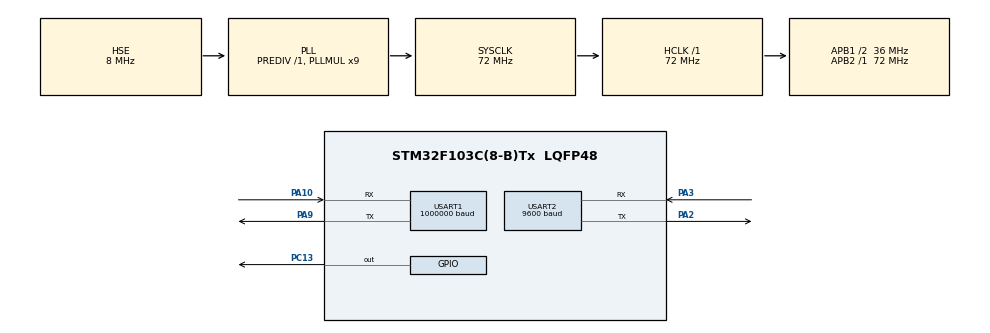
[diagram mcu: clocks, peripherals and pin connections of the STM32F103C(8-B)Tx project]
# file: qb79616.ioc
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Mcu.Family=STM32F1
Mcu.Name=STM32F103C(8-B)Tx
Mcu.Package=LQFP48
NVIC.PriorityGroup=NVIC_PRIORITYGROUP_4
NVIC.TIM2_IRQn=true\:0\:0\:false\:false\:true\:true\:true\:true
NVIC.USART1_IRQn=true\:0\:0\:false\:false\:true\:true\:true\:true
PA10.Mode=Asynchronous
PA10.Signal=USART1_RX
PA13.Mode=Serial_Wire
PA13.Signal=SYS_JTMS-SWDIO
PA14.Mode=Serial_Wire
PA14.Signal=SYS_JTCK-SWCLK
PA2.Mode=Asynchronous
PA2.Signal=USART2_TX
PA3.Mode=Asynchronous
PA3.Signal=USART2_RX
PA9.Mode=Asynchronous
PA9.Signal=USART1_TX
PC13-TAMPER-RTC.Signal=GPIO_Output
PD0-OSC_IN.Mode=HSE-External-Oscillator
PD0-OSC_IN.Signal=RCC_OSC_IN
PD1-OSC_OUT.Mode=HSE-External-Oscillator
PD1-OSC_OUT.Signal=RCC_OSC_OUT
ProjectManager.HeapSize=0x200
ProjectManager.StackSize=0x400
ProjectManager.TargetToolchain=STM32CubeIDE
RCC.AHBFreq_Value=72000000
RCC.APB1CLKDivider=RCC_HCLK_DIV2
RCC.APB1Freq_Value=36000000
RCC.APB1TimFreq_Value=72000000
RCC.APB2Freq_Value=72000000
RCC.APB2TimFreq_Value=72000000
RCC.HCLKFreq_Value=72000000
RCC.PLLMUL=RCC_PLL_MUL9
RCC.PLLSourceVirtual=RCC_PLLSOURCE_HSE
RCC.SYSCLKFreq_VALUE=72000000
RCC.SYSCLKSource=RCC_SYSCLKSOURCE_PLLCLK
RCC.USBFreq_Value=72000000
TIM2.Period=999
TIM2.Prescaler=71
USART1.BaudRate=1000000
USART1.VirtualMode=VM_ASYNC
USART2.BaudRate=9600
USART2.VirtualMode=VM_ASYNC
VP_TIM2_VS_ClockSourceINT.Mode=Internal
board=custom

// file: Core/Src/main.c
/* USER CODE BEGIN Header */
/**
 ******************************************************************************
 * @file           : main.c
 * @brief          : Main program body
 ******************************************************************************
 * @attention
 *
 * Copyright (c) 2025 STMicroelectronics.
 * All rights reserved.
 *
 * This software is licensed under terms that can be found in the LICENSE file
 * in the root directory of this software component.
 * If no LICENSE file comes with this software, it is provided AS-IS.
 *
 ******************************************************************************
 */
/* USER CODE END Header */
#include "main.h"

/* USER CODE BEGIN Includes */
#include "bq79616.h"
#include "bq79600.h"
/* USER CODE END Includes */

TIM_HandleTypeDef htim2;

UART_HandleTypeDef huart1;
UART_HandleTypeDef huart2;

/* USER CODE BEGIN PV */
uint8_t received_data1 = 0;
uint8_t received_data2 = 0;
/* USER CODE END PV */

void SystemClock_Config(void);
static void MX_GPIO_Init(void);
static void MX_USART1_UART_Init(void);
static void MX_USART2_UART_Init(void);
static void MX_TIM2_Init(void);
/* USER CODE BEGIN PFP */
/* Receive buffer (1 byte) */
//uint8_t rx_byte[5];

/* This callback is called by HAL when a receive complete interrupt occurs */
//void HAL_UART_RxCpltCallback(UART_HandleTypeDef *huart)
//{
//  if (huart->Instance == USART1)
//  {
//    /* copy received byte to tx buffer */
//
//
//    /* start transmit interrupt to echo the byte back */
//    if (HAL_UART_Transmit_IT(&huart1, rx_byte, 5) != HAL_OK)
//    {
//      /* Transmission error handling */
//      Error_Handler();
//    }
//
//    /* Re-arm receive interrupt to receive next byte.
//       Important: re-enable after starting TX or you can re-enable in TxCpltCallback.
//    */
//    if (HAL_UART_Receive_IT(&huart1, rx_byte, 5) != HAL_OK)
//    {
//      Error_Handler();
//    }
//  }
//}
/* USER CODE END PFP */

/* USER CODE BEGIN 0 */
void test1(){ //success!!!
	Wake79616();

	HAL_Delay(2);

	AutoAddress();

}
/** Test Case 2: Voltage Reading **/
int totalV = 0;
float final_value;
int cellVoltages_board0[16] = {0};
int cellVoltages_board1[16] = {0};
float test2(){ //success!!!
	int totalV1 = 0;
	int totalV2 = 0;

	uint8_t activeCells = 16;
	// writeReg(0, BQ79616_ADC_CTRL1, 0x06, 1, FRMWRT_ALL_W);
	readBoardVoltages(1, activeCells, &totalV1, cellVoltages_board0);

	HAL_Delay(100);
	readBoardVoltages(2, activeCells, &totalV2, cellVoltages_board1);
	totalV=totalV1 + totalV2;
	return ((totalV1 + totalV2)*0.00019073);
	/** If this works modify to read more than one board **/
}
/** Test Case 3: Configurations Needed for fault detection **/
void test3(){ //success!!!

	//enable temp protector using 1 gpio thermistor
	//remember to set vcb done to vuv
	uint8_t status_OTUT = configure_OTUT(0, 1);

	HAL_UART_Transmit(&huart2, &status_OTUT, sizeof(status_OTUT), 100);
	HAL_Delay(50);

	//enable voltage protector for board 0 all 16 cells
	uint8_t status_OVUV = configure_OVUV(0, 16);

	HAL_UART_Transmit(&huart2, &status_OVUV, sizeof(status_OVUV), 100);

	/** expected: undervoltage fault **/
	//further testing fault interrupt test
}

int comm_x = 0;
void test4()
{
	uint8_t fault_array[TOTALBOARDS] = {0};
	uint8_t msg_received = 0;
	uint8_t read_reg = 0;
	Wake79616();

	HAL_Delay(2);

	AutoAddress_Ring();

	//Time for physically removing the cable between 2 EVMs
	//    HAL_Delay(3000);

	//Reset all faults
	ResetAllFaults(0, FRMWRT_ALL_W);

	//Read for communication Error
	for(int i = 0; i < TOTALBOARDS; i++)
	{
		if(readReg(i, FAULT_RST2, fault_array + i, 1, 200, FRMWRT_SGL_R) !=0)
		{
			msg_received++;
		}
		fault_array[i] = fault_array[i] & 0x1F;

		if(fault_array[i] != 0)
			break;
	}

	//Communication error
	if(msg_received != TOTALBOARDS)
	{
		//Print using uart "Communication Fault detected"
		//Reverse Communication Direction of Base
		readReg(0, BQ79616_CONTROL1, &read_reg, 1, 200, FRMWRT_SGL_R);
		writeReg(0, BQ79616_CONTROL1, read_reg | (1 << 7), 1, FRMWRT_SGL_W);

		//Revese Communication Direction for the reset of chain
		for(int i = 0; i < TOTALBOARDS; i++)
		{
			readReg(i, BQ79616_CONTROL1, &read_reg, 1, 200, FRMWRT_SGL_R);
			writeReg(i, BQ79616_CONTROL1, (1 << 7), 1, FRMWRT_SGL_W);
		}
	}
	else
	{
		//Print using uart "NO commuincation fault"
		comm_x = 0;
	}

	//repeat test again after reversing direction
	if(readReg(TOTALBOARDS - msg_received, BQ79616_CONTROL1, &read_reg, 1, 200, FRMWRT_SGL_R) != 0)
	{
		//print via uart read_reg
		comm_x = 1;
	}
	else
	{
		//print via uart "Coundn't reach board"
		comm_x = 200;
	}

}
uint8_t Buffer[5];

#include <stdint.h>
#include <stdio.h>

// Example register addresses (replace with actual addresses from datasheet)
#define CONTROL2        BQ79616_CONTROL2
#define TSREF_EN_BIT    0x01

#define GPIO_CONF1      BQ79616_GPIO_CONF1
#define GPIO1_ADC_BIT   0x12
#define ADC_CTRL1       BQ79616_ADC_CTRL1
#define MAIN_GO_BIT     0x01

#define GPIO1_HI_REG    GPIO1_HI
#define GPIO1_LO_REG    GPIO1_LO

#define VLSB_GPIO       152.59  // 1 LSB in μV (replace with datasheet value)
#define R1              10000 // Pull-up resistor for thermistor in ohms

#define DIETEMP1_HI_REG DIETEMP1_HI  // High byte register of Die Temperature
#define DIETEMP1_LO_REG DIETEMP1_LO  // Low byte register of Die Temperature
#define VLSB_MAIN_DIETEMP1 0.0078125 // LSB value in °C

int16_t raw_value;
uint8_t hi, lo;

float gpio1_voltage=5;
float gpio8_voltage=5.254654;
float tsref_voltage = 0; // Example: 5V in μV
float rntc=2.56;

extern volatile uint32_t ms_counter ;

//// External functions to access the device
//extern void writeReg(uint8_t bID, uint16_t wAddr, uint8_t data, uint8_t len, uint8_t writeType);
//extern uint8_t readReg(uint8_t bID, uint16_t wAddr, uint8_t* pData, uint8_t len, uint32_t timeout, uint8_t readType);

// Function to enable TSREF
void enableTSREF(void) {
	writeReg(1, BQ79616_CONTROL2, 0x01, 1,FRMWRT_SGL_W);
	writeReg(2, BQ79616_CONTROL2, 0x01, 1,FRMWRT_SGL_W);
	HAL_Delay(10); // Wait 1.35ms for TSREF to stabilize
}

// Function to configure GPIO1 as ADC input
void configureGPIO8_ADC(void) {
	writeReg(1, BQ79616_GPIO_CONF4, 0x10, 1, FRMWRT_SGL_W);
	writeReg(2, BQ79616_GPIO_CONF4, 0x10, 1, FRMWRT_SGL_W);
}

//// Function to start the Main ADC
//void startMainADC(void) {
//    writeReg(0, ADC_CTRL1, MAIN_GO_BIT, 1, FRMWRT_ALL_W);
//}

// Function to read GPIO1 voltage in μV
float readGPIO1Voltage(void) {
	uint8_t hi, lo;
	int16_t raw_value;
	float voltage_uV;

	uint8_t buffer[1];

	hi = readReg(1, GPIO1_HI_REG, buffer, 1, 0, FRMWRT_SGL_R);
	lo = readReg(1, GPIO1_LO_REG, buffer, 1, 0, FRMWRT_SGL_R);

	raw_value = (int16_t)((hi << 8) | lo);
	voltage_uV = raw_value * VLSB_GPIO;

	return voltage_uV;
}

// Function to read TSERF voltage in μV
float readTSREFVoltage(void) {

	float voltage_uV;

	uint8_t buffer[1];

	hi = readReg(1, TSREF_HI, buffer, 1, 0, FRMWRT_SGL_R);
	lo = readReg(1, TSREF_LO, buffer, 1, 0, FRMWRT_SGL_R);

	raw_value = (int16_t)((hi << 8) | lo);
	voltage_uV = raw_value * VLSB_GPIO;

	return voltage_uV;
}

float readGPIO8Voltage(uint8_t BID) {

	float voltage_uV;

	uint16_t buffer[2];

	readReg(BID, GPIO8_HI, &buffer[1], 1, 0, FRMWRT_SGL_R);
	readReg(BID, GPIO8_LO, &buffer[2], 1, 0, FRMWRT_SGL_R);

	//raw_value = (int16_t)((hi << 8) | lo);
	raw_value =((buffer[1] << 8) | buffer[2]);
	voltage_uV = (int16_t)raw_value *VLSB_GPIO/1000000;
	return voltage_uV;
}

/* USER CODE END 0 */

int main(void)
{

  /* MCU Configuration--------------------------------------------------------*/

  /* Reset of all peripherals, Initializes the Flash interface and the Systick. */
  HAL_Init();

  /* Configure the system clock */
  SystemClock_Config();

  /* Initialize all configured peripherals */
  MX_GPIO_Init();
  MX_USART1_UART_Init();
  MX_USART2_UART_Init();
  MX_TIM2_Init();
  /* USER CODE BEGIN 2 */
  HAL_TIM_Base_Start_IT(&htim2);

	Wake79600();

	Bridge_AutoAddress();

	//   writeReg(0, BQ79616_CONTROL1, 0x21, 1, FRMWRT_ALL_W);
	//  readReg(0, Bridge_SLP_TIMEOUT, &received_data, 1, 100, FRMWRT_SGL_R);

	//SYNCRHONIZE THE DLL WITH A THROW-AWAY READ
	readReg(0, OTP_ECC_DATAIN1, &received_data1, 1, 0, FRMWRT_STK_R);
	readReg(0, OTP_ECC_DATAIN2, &received_data1, 1, 0, FRMWRT_STK_R);
	readReg(0, OTP_ECC_DATAIN3, &received_data1, 1, 0, FRMWRT_STK_R);
	readReg(0, OTP_ECC_DATAIN4, &received_data1, 1, 0, FRMWRT_STK_R);
	readReg(0, OTP_ECC_DATAIN5, &received_data1, 1, 0, FRMWRT_STK_R);
	readReg(0, OTP_ECC_DATAIN6, &received_data1, 1, 0, FRMWRT_STK_R);
	readReg(0, OTP_ECC_DATAIN7, &received_data1, 1, 0, FRMWRT_STK_R);
	readReg(0, OTP_ECC_DATAIN8, &received_data1, 1, 0, FRMWRT_STK_R);

    HAL_Delay(10);
	enableTSREF();
	configureGPIO8_ADC();

//    configure_OTUT(1, 0);
//    configure_OTUT(2, 0);

	writeReg(0, BQ79616_ADC_CTRL1, 0x06, 1, FRMWRT_STK_W);
	HAL_Delay(10);
	writeReg(0, BQ79616_ADC_CTRL1, 0x06, 1, FRMWRT_STK_W);
	HAL_Delay(10);
	readReg(1, BQ79616_ADC_CTRL1, &received_data1, 1, 0, FRMWRT_SGL_R);

	readReg(2, BQ79616_ADC_CTRL1, &received_data2, 1, 0, FRMWRT_SGL_R);

  /* USER CODE END 2 */

  /* Infinite loop */
  /* USER CODE BEGIN WHILE */
	while (1)
	{
		HAL_Delay(10);
		final_value = test2();
		//HAL_Delay(30);

		HAL_GPIO_WritePin(GPIOC, GPIO_PIN_13, GPIO_PIN_SET);
		HAL_Delay(200);
		HAL_GPIO_WritePin(GPIOC, GPIO_PIN_13, GPIO_PIN_RESET);
		HAL_Delay(200);
		//ReadDieTempStack();

//		for(int i = 1; i <=8; i++)
//		{
//			gpio8_voltage = readGPIOVoltage(i);
//			HAL_Delay(100);
//		}
		gpio8_voltage = readGPIO8Voltage(1);
		HAL_Delay(1000);
		gpio8_voltage = readGPIO8Voltage(2);

		///rntc = gpioVoltageToRntc(gpio1_voltage, tsref_voltage);
		//readReg(1, ADC_STAT1, &received_data, 1, 0, FRMWRT_SGL_R);

    /* USER CODE END WHILE */

	}
}

void SystemClock_Config(void)
{
  RCC_OscInitTypeDef RCC_OscInitStruct = {0};
  RCC_ClkInitTypeDef RCC_ClkInitStruct = {0};

  /** Initializes the RCC Oscillators according to the specified parameters
  * in the RCC_OscInitTypeDef structure.
  */
  RCC_OscInitStruct.OscillatorType = RCC_OSCILLATORTYPE_HSE;
  RCC_OscInitStruct.HSEState = RCC_HSE_ON;
  RCC_OscInitStruct.HSEPredivValue = RCC_HSE_PREDIV_DIV1;
  RCC_OscInitStruct.HSIState = RCC_HSI_ON;
  RCC_OscInitStruct.PLL.PLLState = RCC_PLL_ON;
  RCC_OscInitStruct.PLL.PLLSource = RCC_PLLSOURCE_HSE;
  RCC_OscInitStruct.PLL.PLLMUL = RCC_PLL_MUL9;
  if (HAL_RCC_OscConfig(&RCC_OscInitStruct) != HAL_OK)
  {
    Error_Handler();
  }

  /** Initializes the CPU, AHB and APB buses clocks
  */
  RCC_ClkInitStruct.ClockType = RCC_CLOCKTYPE_HCLK|RCC_CLOCKTYPE_SYSCLK
                              |RCC_CLOCKTYPE_PCLK1|RCC_CLOCKTYPE_PCLK2;
  RCC_ClkInitStruct.SYSCLKSource = RCC_SYSCLKSOURCE_PLLCLK;
  RCC_ClkInitStruct.AHBCLKDivider = RCC_SYSCLK_DIV1;
  RCC_ClkInitStruct.APB1CLKDivider = RCC_HCLK_DIV2;
  RCC_ClkInitStruct.APB2CLKDivider = RCC_HCLK_DIV1;

  if (HAL_RCC_ClockConfig(&RCC_ClkInitStruct, FLASH_LATENCY_2) != HAL_OK)
  {
    Error_Handler();
  }
}

static void MX_TIM2_Init(void)
{

  TIM_ClockConfigTypeDef sClockSourceConfig = {0};
  TIM_MasterConfigTypeDef sMasterConfig = {0};

  htim2.Instance = TIM2;
  htim2.Init.Prescaler = 71;
  htim2.Init.CounterMode = TIM_COUNTERMODE_UP;
  htim2.Init.Period = 999;
  htim2.Init.ClockDivision = TIM_CLOCKDIVISION_DIV1;
  htim2.Init.AutoReloadPreload = TIM_AUTORELOAD_PRELOAD_DISABLE;
  if (HAL_TIM_Base_Init(&htim2) != HAL_OK)
  {
    Error_Handler();
  }
  sClockSourceConfig.ClockSource = TIM_CLOCKSOURCE_INTERNAL;
  if (HAL_TIM_ConfigClockSource(&htim2, &sClockSourceConfig) != HAL_OK)
  {
    Error_Handler();
  }
  sMasterConfig.MasterOutputTrigger = TIM_TRGO_RESET;
  sMasterConfig.MasterSlaveMode = TIM_MASTERSLAVEMODE_DISABLE;
  if (HAL_TIMEx_MasterConfigSynchronization(&htim2, &sMasterConfig) != HAL_OK)
  {
    Error_Handler();
  }

}

static void MX_USART1_UART_Init(void)
{

  huart1.Instance = USART1;
  huart1.Init.BaudRate = 1000000;
  huart1.Init.WordLength = UART_WORDLENGTH_8B;
  huart1.Init.StopBits = UART_STOPBITS_1;
  huart1.Init.Parity = UART_PARITY_NONE;
  huart1.Init.Mode = UART_MODE_TX_RX;
  huart1.Init.HwFlowCtl = UART_HWCONTROL_NONE;
  huart1.Init.OverSampling = UART_OVERSAMPLING_16;
  if (HAL_UART_Init(&huart1) != HAL_OK)
  {
    Error_Handler();
  }

}

static void MX_USART2_UART_Init(void)
{

  huart2.Instance = USART2;
  huart2.Init.BaudRate = 9600;
  huart2.Init.WordLength = UART_WORDLENGTH_8B;
  huart2.Init.StopBits = UART_STOPBITS_1;
  huart2.Init.Parity = UART_PARITY_NONE;
  huart2.Init.Mode = UART_MODE_TX_RX;
  huart2.Init.HwFlowCtl = UART_HWCONTROL_NONE;
  huart2.Init.OverSampling = UART_OVERSAMPLING_16;
  if (HAL_UART_Init(&huart2) != HAL_OK)
  {
    Error_Handler();
  }

}

static void MX_GPIO_Init(void)
{
  GPIO_InitTypeDef GPIO_InitStruct = {0};

  /* GPIO Ports Clock Enable */
  __HAL_RCC_GPIOC_CLK_ENABLE();
  __HAL_RCC_GPIOD_CLK_ENABLE();
  __HAL_RCC_GPIOA_CLK_ENABLE();

  /*Configure GPIO pin Output Level */
  HAL_GPIO_WritePin(GPIOC, GPIO_PIN_13, GPIO_PIN_RESET);

  /*Configure GPIO pin : PC13 */
  GPIO_InitStruct.Pin = GPIO_PIN_13;
  GPIO_InitStruct.Mode = GPIO_MODE_OUTPUT_PP;
  GPIO_InitStruct.Pull = GPIO_NOPULL;
  GPIO_InitStruct.Speed = GPIO_SPEED_FREQ_LOW;
  HAL_GPIO_Init(GPIOC, &GPIO_InitStruct);

}

void Error_Handler(void)
{
	__disable_irq();
	while (1)
	{
	}
}
